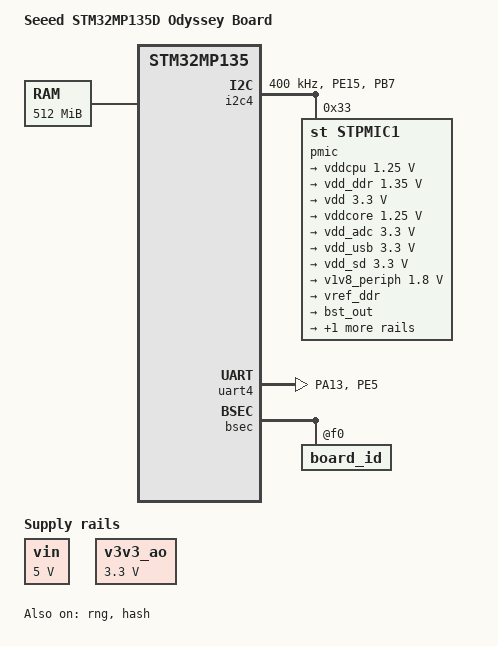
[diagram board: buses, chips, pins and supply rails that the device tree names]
// SPDX-License-Identifier: (GPL-2.0+ OR BSD-3-Clause)
/*
 * Copyright (C) STMicroelectronics 2021 - All Rights Reserved
 * Author: Alexandre Torgue <alexandre.torgue@foss.st.com> for STMicroelectronics.
 *
 * Copyright (C) Seeed Studio 2023 - All Rights Reserved
 * Author: Zhangqun Ming <zhangqun.ming@seeed.cc> for Seeed.
 */

/dts-v1/;

#include <dt-bindings/clock/stm32mp13-clksrc.h>
#include <dt-bindings/pinctrl/stm32-pinfunc.h>
#include "stm32mp135.dtsi"
#include "stm32mp13xd.dtsi"
#include "stm32mp13-ddr3-1x4Gb-1066-binF.dtsi"
#include "stm32mp13-pinctrl.dtsi"

/ {
	model = "Seeed STM32MP135D Odyssey Board";
	compatible = "st,stm32mp135d-odyssey_dev_minimal_dt-mx", "st,stm32mp135";

	aliases {
		serial0 = &uart4;
	};

	chosen {
		stdout-path = "serial0:115200n8";
	};

	memory@c0000000 {
		device_type = "memory";
		reg = <0xc0000000 0x20000000>;
	};

	vin: vin {
		compatible = "regulator-fixed";
		regulator-name = "vin";
		regulator-min-microvolt = <5000000>;
		regulator-max-microvolt = <5000000>;
		regulator-always-on;
	};

	v3v3_ao: v3v3_ao {
		compatible = "regulator-fixed";
		regulator-name = "v3v3_ao";
		regulator-min-microvolt = <3300000>;
		regulator-max-microvolt = <3300000>;
		regulator-always-on;
	};
};


&i2c4 {
	pinctrl-names = "default";
	pinctrl-0 = <&i2c4_pins_a>;
	status = "okay";
	i2c-scl-rising-time-ns = <185>;
	i2c-scl-falling-time-ns = <20>;
	clock-frequency = <400000>;


	pmic: stpmic@33 {
		compatible = "st,stpmic1";
		reg = <0x33>;

		status = "okay";

		regulators {
			compatible = "st,stpmic1-regulators";
			buck1-supply = <&vin>;
			buck2-supply = <&vin>;
			buck3-supply = <&vin>;
			buck4-supply = <&vin>;
			ldo1-supply = <&vin>;
			ldo4-supply = <&vin>;
			ldo5-supply = <&vin>;
			ldo6-supply = <&vin>;
			vref_ddr-supply = <&vin>;
			pwr_sw1-supply = <&bst_out>;
			pwr_sw2-supply = <&v3v3_ao>;

			vddcpu: buck1 {
				regulator-name = "vddcpu";
				regulator-min-microvolt = <1250000>;
				regulator-max-microvolt = <1250000>;
				regulator-always-on;
				regulator-over-current-protection;
			};

			vdd_ddr: buck2 {
				regulator-name = "vdd_ddr";
				regulator-min-microvolt = <1350000>;
				regulator-max-microvolt = <1350000>;
				regulator-always-on;
				regulator-over-current-protection;
			};

			vdd: buck3 {
				regulator-name = "vdd";
				regulator-min-microvolt = <3300000>;
				regulator-max-microvolt = <3300000>;
				regulator-always-on;
				st,mask-reset;
				regulator-over-current-protection;
			};

			vddcore: buck4 {
				regulator-name = "vddcore";
				regulator-min-microvolt = <1250000>;
				regulator-max-microvolt = <1250000>;
				regulator-always-on;
				regulator-over-current-protection;
			};

			vdd_adc: ldo1 {
				regulator-name = "vdd_adc";
				regulator-min-microvolt = <3300000>;
				regulator-max-microvolt = <3300000>;
			};

			vdd_usb: ldo4 {
				regulator-name = "vdd_usb";
				regulator-min-microvolt = <3300000>;
				regulator-max-microvolt = <3300000>;
			};

			vdd_sd: ldo5 {
				regulator-name = "vdd_sd";
				regulator-min-microvolt = <3300000>;
				regulator-max-microvolt = <3300000>;
				regulator-boot-on;
			};

			v1v8_periph: ldo6 {
				regulator-name = "v1v8_periph";
				regulator-min-microvolt = <1800000>;
				regulator-max-microvolt = <1800000>;
			};

			vref_ddr: vref_ddr {
				regulator-name = "vref_ddr";
				regulator-always-on;
			};

			bst_out: boost {
				regulator-name = "bst_out";
			};

			v3v3_sw: pwr_sw2 {
				regulator-name = "v3v3_sw";
				regulator-active-discharge = <1>;
				regulator-always-on;
			};
		};
	};
};

&pwr_regulators {
	vdd-supply = <&vdd>;
	vdd_3v3_usbfs-supply = <&vdd_usb>;
};

&pinctrl {
	/* i2c4 */
	i2c4_pins_a: i2c4-0 {
		pins {
			pinmux = <STM32_PINMUX('E', 15, AF6)>, /* I2C4_SCL */
				 <STM32_PINMUX('B', 7, AF6)>; /* I2C4_SDA */
			bias-disable;
			drive-open-drain;
			slew-rate = <0>;
		};
	};


	/* uart4 */
	uart4_pins_a: uart4-0 {
		pins1 {
			pinmux = <STM32_PINMUX('A', 13, AF8)>; /* UART4_TX */
			bias-disable;
			drive-push-pull;
			slew-rate = <0>;
		};
		pins2 {
			pinmux = <STM32_PINMUX('E', 5, AF8)>; /* UART4_RX */
			bias-disable;
		};
	};
};


&rcc {
	status = "okay";
	st,clksrc = <
		CLK_MPU_HSI
		CLK_AXI_HSI
		CLK_MLAHBS_HSI
		CLK_CKPER_DISABLED
		CLK_STGEN_HSI
		CLK_I2C4_PCLK6
		CLK_UART4_HSI
	>;
	st,clkdiv = <
		DIV(DIV_MPU, 1)
		DIV(DIV_AXI, 0)
		DIV(DIV_MLAHB, 0)
		DIV(DIV_APB1, 0)
		DIV(DIV_APB2, 0)
		DIV(DIV_APB3, 0)
		DIV(DIV_APB4, 0)
		DIV(DIV_APB5, 0)
		DIV(DIV_APB6, 0)
	>;
	st,pll_vco {
		pll2_vco_800Mhz: pll2-vco-800Mhz {
			src = < CLK_PLL12_HSI >;
			divmn = < 3 24 >;
		};
		/* USER CODE BEGIN rcc_st-pll_vco */
		/* USER CODE END rcc_st-pll_vco */
	};

	pll2:st,pll@1 {
		compatible = "st,stm32mp1-pll";
		reg = <1>;

		st,pll = < &pll2_cfg1 >;

		pll2_cfg1: pll2_cfg1 {
			st,pll_vco = < &pll2_vco_800Mhz >;
			st,pll_div_pqr = < 1 1 0 >;
		};
		/* USER CODE BEGIN pll2 */
		/* USER CODE END pll2 */
	};

};

&rng {
	status = "okay";
};


&uart4 {
	pinctrl-names = "default";
	pinctrl-0 = <&uart4_pins_a>;
	status = "okay";
};



&bsec {
	board_id: board_id@f0 {
		reg = <0xf0 0x4>;
		st,non-secure-otp;
	};
};

&cpu0 {
	cpu-supply = <&vddcpu>;
};

&hash {
	status = "okay";
};
